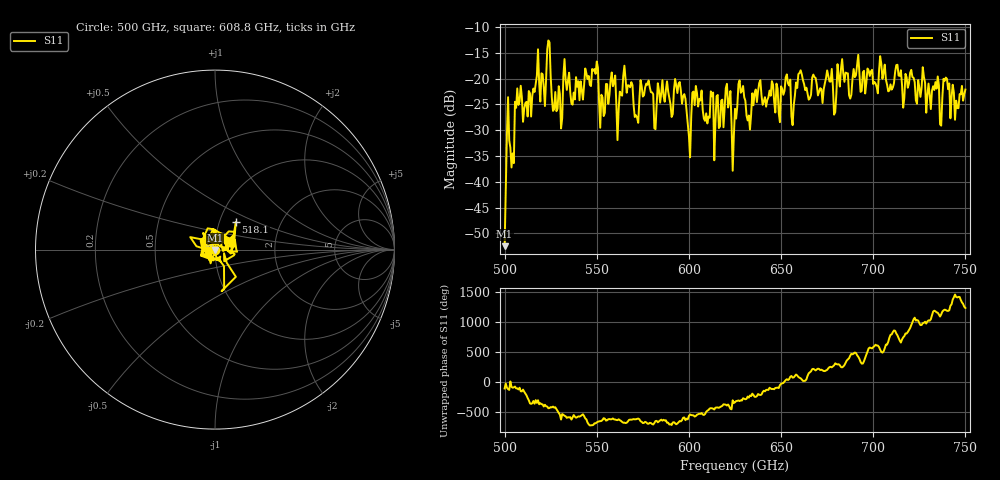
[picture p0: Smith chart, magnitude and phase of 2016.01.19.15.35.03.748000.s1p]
!Created with skrf (http://scikit-rf.org).
# GHz S RI R 50.0
!freq ReS11 ImS11
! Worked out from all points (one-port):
!   401 points, 500 GHz to 750 GHz, reference 50 ohm
!   lowest |S11| = -52.5 dB at 500 GHz (marker M1), VSWR 1.00, Z = 49.9 - j0.223 ohm
!   |S11| at or under -10 dB: start of sweep to end of sweep
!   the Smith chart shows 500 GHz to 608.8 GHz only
!   S11 on the Smith chart (normalised r, x): 500 GHz: 1.00, -0.00; 518.1 GHz: 1.20, +0.38; 608.8 GHz: 0.93, -0.00
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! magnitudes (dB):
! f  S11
! 500 GHz  -52.5
! 501.9 GHz  -23.6
! 503.8 GHz  -37.2
! 506.9 GHz  -21.9
! 518.1 GHz  -14.3
! 523.8 GHz  -12.6
! 526.9 GHz  -26.0
! 531.2 GHz  -27.7
! 549.4 GHz  -19.1
! 553.1 GHz  -23.7
! 558.8 GHz  -21.5
! 562.5 GHz  -22.5
! 565.6 GHz  -20.1
! 571.2 GHz  -27.1
! 593.8 GHz  -22.8
! 600 GHz  -31.1
! 603.1 GHz  -25.2
! 608.8 GHz  -28.2
! 621.2 GHz  -25.6
! 625 GHz  -25.9
! 628.1 GHz  -22.8
! 632.5 GHz  -27.2
! 637.5 GHz  -22.5
! 656.2 GHz  -29.0
! 660.6 GHz  -18.4
! 687.5 GHz  -23.9
! 718.8 GHz  -21.8
! 750 GHz  -22.1
